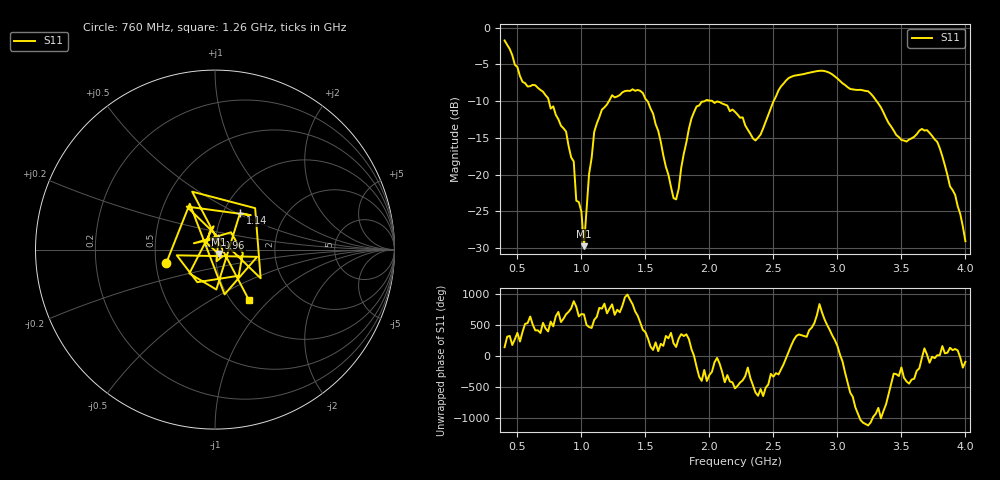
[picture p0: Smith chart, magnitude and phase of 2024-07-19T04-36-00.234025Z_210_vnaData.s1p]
!Created with skrf (http://scikit-rf.org).
# Hz S RI R 50.0
!freq ReS11 ImS11
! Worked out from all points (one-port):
!   181 points, 400 MHz to 4 GHz, reference 50 ohm
!   lowest |S11| = -29.7 dB at 1.02 GHz (marker M1), VSWR 1.07, Z = 52.1 - j2.57 ohm
!   |S11| at or under -10 dB: 745.8 MHz to 1.215 GHz (469.4 MHz wide, 47.9 % of centre); 2.024 GHz to 2.501 GHz (477.9 MHz wide, 21.1 % of centre); 3.307 GHz to end of sweep (the widest 3 of 4)
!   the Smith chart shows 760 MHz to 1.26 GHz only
!   S11 on the Smith chart (normalised r, x): 760 MHz: 0.57, -0.09; 960 MHz: 1.03, +0.13; 1.14 GHz: 1.20, +0.52; 1.26 GHz: 1.20, -0.75
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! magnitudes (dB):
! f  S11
! 400 MHz  -1.7
! 540 MHz  -7.4
! 760 MHz  -11.0
! 860 MHz  -13.7
! 940 MHz  -18.2
! 960 MHz  -23.5
! 1 GHz  -25.0
! 1.02 GHz  -29.7
! 1.06 GHz  -19.9
! 1.1 GHz  -14.2
! 1.14 GHz  -12.2
! 1.26 GHz  -9.5
! 1.3 GHz  -9.2
! 1.48 GHz  -8.9
! 1.6 GHz  -14.0
! 1.72 GHz  -23.2
! 1.76 GHz  -21.9
! 1.84 GHz  -13.7
! 1.9 GHz  -10.7
! 2.2 GHz  -11.5
! 2.36 GHz  -15.4
! 2.66 GHz  -6.5
! 2.9 GHz  -5.9
! 3.1 GHz  -8.3
! 3.24 GHz  -8.7
! 3.56 GHz  -15.2
! 3.78 GHz  -15.5
! 4 GHz  -29.1
